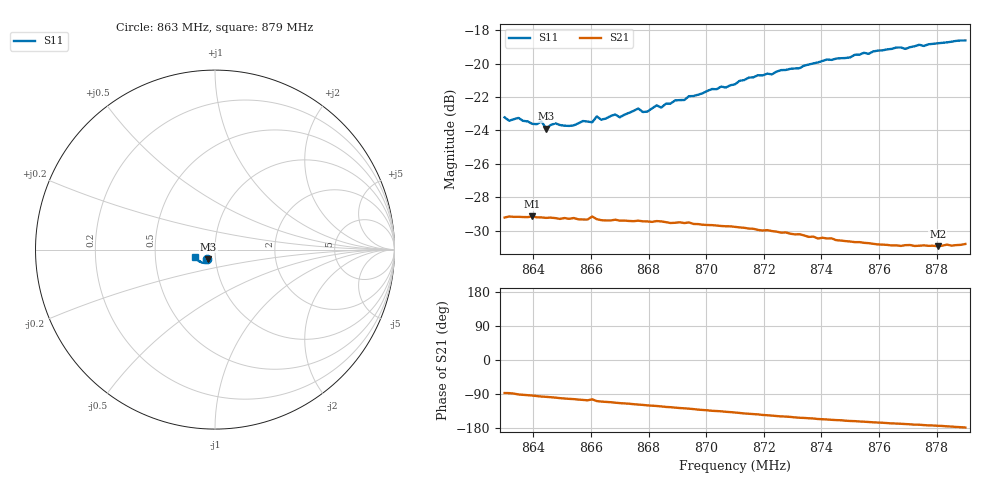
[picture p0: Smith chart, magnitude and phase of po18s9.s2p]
# HZ S RI R 50
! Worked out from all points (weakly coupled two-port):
!   101 points, 863 MHz to 879 MHz, reference 50 ohm
!   highest |S21| = -29.15 dB at 863.96 MHz (marker M1); lowest = -30.9 dB at 878.04 MHz (marker M2)
!   lowest |S11| = -23.9 dB at 864.44 MHz (marker M3), VSWR 1.14, Z = 46.2 - j4.84 ohm
!   |S11| at or under -10 dB: start of sweep to end of sweep
!   S12 and S22 are empty: the file has one direction only
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8.63e8  -0.0443 -0.0529  0.00172 -0.0346  0 0  0 0
8.6396e8  -0.0394 -0.053  -0.00231 -0.0348  0 0  0 0
8.6428e8  -0.0395 -0.0543  -0.0039 -0.0344  0 0  0 0
8.6444e8  -0.0369 -0.0522  -0.00435 -0.0343  0 0  0 0
8.6476e8  -0.0372 -0.0548  -0.00554 -0.034  0 0  0 0
8.6524e8  -0.0354 -0.0546  -0.00744 -0.0335  0 0  0 0
8.6572e8  -0.0346 -0.0577  -0.00903 -0.033  0 0  0 0
8.6604e8  -0.0322 -0.0585  -0.00833 -0.0339  0 0  0 0
8.662e8  -0.0364 -0.0592  -0.0108 -0.0325  0 0  0 0
8.6636e8  -0.0352 -0.058  -0.0115 -0.032  0 0  0 0
8.6684e8  -0.0357 -0.0607  -0.0131 -0.0315  0 0  0 0
8.67e8  -0.0346 -0.0598  -0.0137 -0.031  0 0  0 0
8.6764e8  -0.0364 -0.0637  -0.0157 -0.03  0 0  0 0
8.678e8  -0.0354 -0.0623  -0.0161 -0.0297  0 0  0 0
8.6828e8  -0.0367 -0.0654  -0.0176 -0.0289  0 0  0 0
8.6844e8  -0.036 -0.0645  -0.0181 -0.0285  0 0  0 0
8.71e8  -0.0474 -0.0725  -0.0243 -0.0215  0 0  0 0
8.7148e8  -0.0509 -0.0752  -0.0252 -0.0198  0 0  0 0
8.7372e8  -0.0676 -0.0738  -0.0274 -0.0131  0 0  0 0
8.7644e8  -0.0914 -0.0623  -0.0279 -0.00626  0 0  0 0
8.7804e8  -0.1033 -0.0506  -0.0283 -0.00317  0 0  0 0
8.79e8  -0.1102 -0.0402  -0.0288 -0.000932  0 0  0 0
